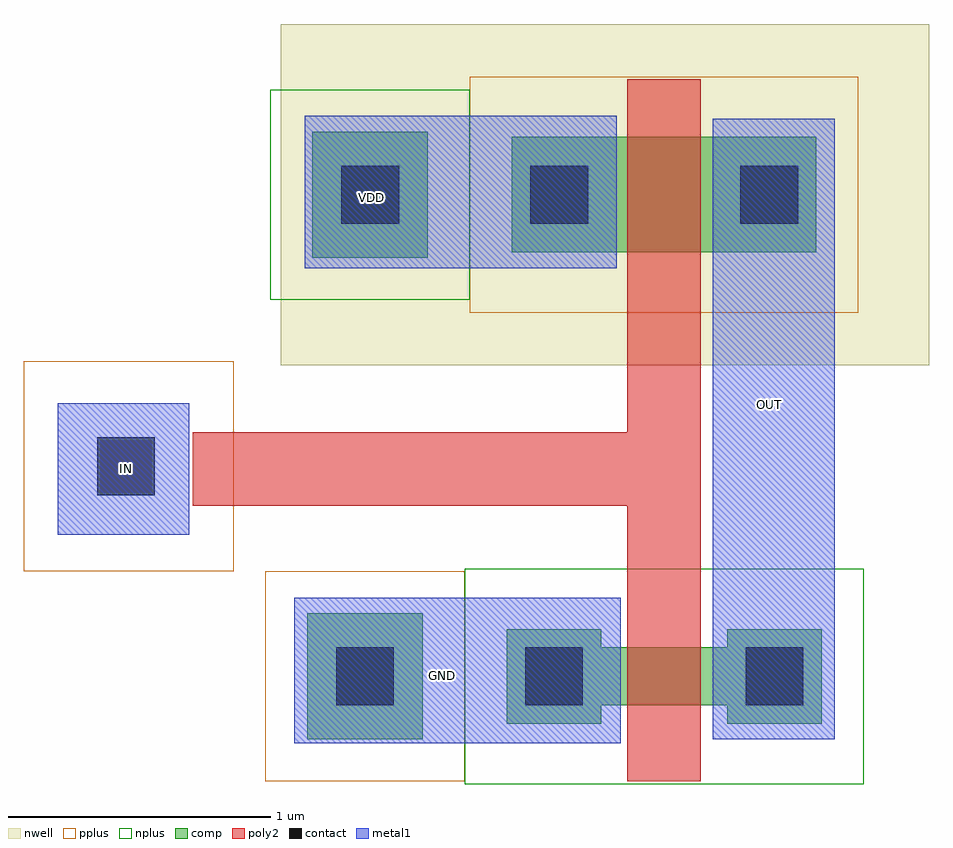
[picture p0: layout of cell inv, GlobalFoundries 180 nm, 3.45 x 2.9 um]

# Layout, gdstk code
import gdstk
lib = gdstk.Library(unit=1e-6, precision=5e-09)
def R(c, l, rs):  # rectangles x0, y0, x1, y1
    for r in rs: c.add(gdstk.rectangle(r[:2], r[2:], *l))
def P(c, l, *ps):  # polygons
    for p in ps: c.add(gdstk.Polygon(p, *l))
nwell = (21, 0)
comp = (22, 0)
poly2 = (30, 0)
pplus = (31, 0)
nplus = (32, 0)
contact = (33, 0)
metal1 = (34, 0)

pfet = lib.new_cell('pfet')
R(pfet, nwell, [(-0.88,-0.43,1.59,0.87)])
R(pfet, comp, [(-0.76,-0.02,-0.32,0.46), (0,0,1.16,0.44)])
R(pfet, poly2, [(0.44,-0.22,0.72,0.66)])
R(pfet, pplus, [(-0.16,-0.23,1.32,0.67)])
R(pfet, nplus, [(-0.92,-0.18,-0.16,0.62)])
R(pfet, contact, [(-0.65,0.11,-0.43,0.33), (0.07,0.11,0.29,0.33), (0.87,0.11,1.09,0.33)])
R(pfet, metal1, [(-0.76,-0.02,-0.32,0.46), (-0.01,-0.01,0.37,0.45), (0.79,-0.01,1.17,0.45)])

nfet = lib.new_cell('nfet')
R(nfet, comp, [(-0.76,-0.06,-0.32,0.42)])
P(nfet, comp, [(0,0),(0,0.36),(0.36,0.36),(0.36,0.29),(0.84,0.29),(0.84,0.36),(1.2,0.36),(1.2,0),(0.84,0),(0.84,0.07),(0.36,0.07),(0.36,0)])
R(nfet, poly2, [(0.46,-0.22,0.74,0.58)])
R(nfet, pplus, [(-0.92,-0.22,-0.16,0.58)])
R(nfet, nplus, [(-0.16,-0.23,1.36,0.59)])
R(nfet, contact, [(-0.65,0.07,-0.43,0.29), (0.07,0.07,0.29,0.29), (0.91,0.07,1.13,0.29)])
R(nfet, metal1, [(-0.76,-0.06,-0.32,0.42), (-0.01,-0.01,0.37,0.37), (0.83,-0.01,1.21,0.37)])

inv = lib.new_cell('inv')
R(inv, poly2, [(-3.28,3.805,-3,5.12), (-4.935,4.26,-3.235,4.54)])
R(inv, pplus, [(-5.58,4.01,-4.78,4.81)])
R(inv, contact, [(-5.3,4.3,-5.08,4.52)])
R(inv, metal1, [(-4.55,3.355,-3.305,3.91), (-2.955,3.37,-2.49,5.735), (-5.45,4.15,-4.95,4.65), (-4.51,5.165,-3.32,5.745)])
inv.add(gdstk.Reference(pfet, (-3.72,5.225)))
inv.add(gdstk.Reference(nfet, (-3.74,3.43)))
inv.add(gdstk.Label('IN', (-5.19,4.4), layer=34, texttype=10))
inv.add(gdstk.Label('OUT', (-2.74,4.645), layer=34, texttype=10))
inv.add(gdstk.Label('GND', (-3.985,3.615), layer=34, texttype=10))
inv.add(gdstk.Label('VDD', (-4.255,5.435), layer=34, texttype=10))

lib.write_gds('inv.gds')
